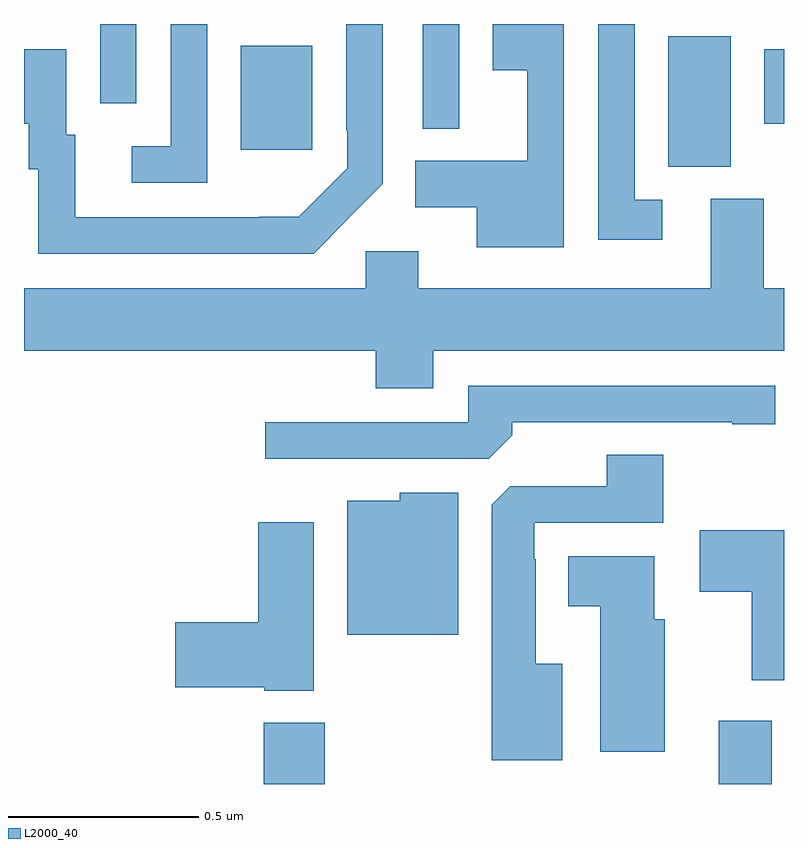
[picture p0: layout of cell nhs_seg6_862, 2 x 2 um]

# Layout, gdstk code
import gdstk
lib = gdstk.Library(unit=1e-6, precision=1e-09)
def R(c, l, rs):  # rectangles x0, y0, x1, y1
    for r in rs: c.add(gdstk.rectangle(r[:2], r[2:], *l))
def P(c, l, *ps):  # polygons
    for p in ps: c.add(gdstk.Polygon(p, *l))
L2000_40 = (2000, 40)

nhs_seg6_862 = lib.new_cell('nhs_seg6_862')
R(nhs_seg6_862, L2000_40, [(121.631,975.5,121.791,975.661), (122.828,975.5,122.968,975.667), (122.696,977.125,122.86,977.468), (121.571,977.169,121.759,977.443), (122.049,977.225,122.145,977.5), (122.948,977.237,123,977.434), (121.2,977.292,121.296,977.5)])
P(nhs_seg6_862, L2000_40, [(121.853,976.987),(121.852,976.988),(121.944,977.079),(121.944,977.5),(121.848,977.5),(121.848,977.221),(121.851,977.221),(121.851,977.121),(121.723,976.993),(121.619,976.993),(121.619,976.992),(121.135,976.992),(121.135,977.208),(121.111,977.208),(121.111,977.434),(121,977.434),(121,977.237),(121.013,977.237),(121.013,977.118),(121.038,977.118),(121.038,976.896),(121.762,976.896)],
  [(122.421,977.5),(122.234,977.5),(122.234,977.378),(122.324,977.378),(122.324,977.14),(122.029,977.14),(122.029,977.018),(122.192,977.018),(122.192,976.913),(122.421,976.913)],
  [(122.68,977.037),(122.607,977.037),(122.607,977.5),(122.511,977.5),(122.511,976.932),(122.68,976.932)],
  [(121.482,977.5),(121.386,977.5),(121.386,977.178),(121.284,977.178),(121.284,977.082),(121.482,977.082)],
  [(122.077,976.64),(123,976.64),(123,976.804),(122.947,976.804),(122.947,977.04),(122.807,977.04),(122.807,976.804),(122.038,976.804),(122.038,976.902),(121.899,976.902),(121.899,976.804),(121,976.804),(121,976.64),(121.925,976.64),(121.925,976.541),(122.077,976.541)],
  [(122.285,976.418),(122.285,976.452),(122.864,976.452),(122.864,976.447),(122.977,976.447),(122.977,976.548),(122.169,976.548),(122.169,976.452),(121.635,976.452),(121.635,976.356),(122.223,976.356)],
  [(122.416,975.817),(122.347,975.817),(122.347,976.091),(122.343,976.091),(122.343,976.188),(122.682,976.188),(122.682,976.367),(122.534,976.367),(122.534,976.284),(122.28,976.284),(122.231,976.235),(122.231,975.563),(122.416,975.563)],
  [(122.143,976.267),(121.989,976.267),(121.989,976.246),(121.85,976.246),(121.85,975.893),(122.143,975.893)],
  [(121.762,976.189),(121.616,976.189),(121.616,975.926),(121.398,975.926),(121.398,975.755),(121.632,975.755),(121.632,975.746),(121.762,975.746)],
  [(123,976.168),(122.778,976.168),(122.778,976.006),(122.915,976.006),(122.915,975.773),(123,975.773)],
  [(122.686,975.933),(122.659,975.933),(122.659,976.099),(122.432,976.099),(122.432,975.968),(122.516,975.968),(122.516,975.585),(122.686,975.585)])

lib.write_gds('nhs_seg6_862.gds')
